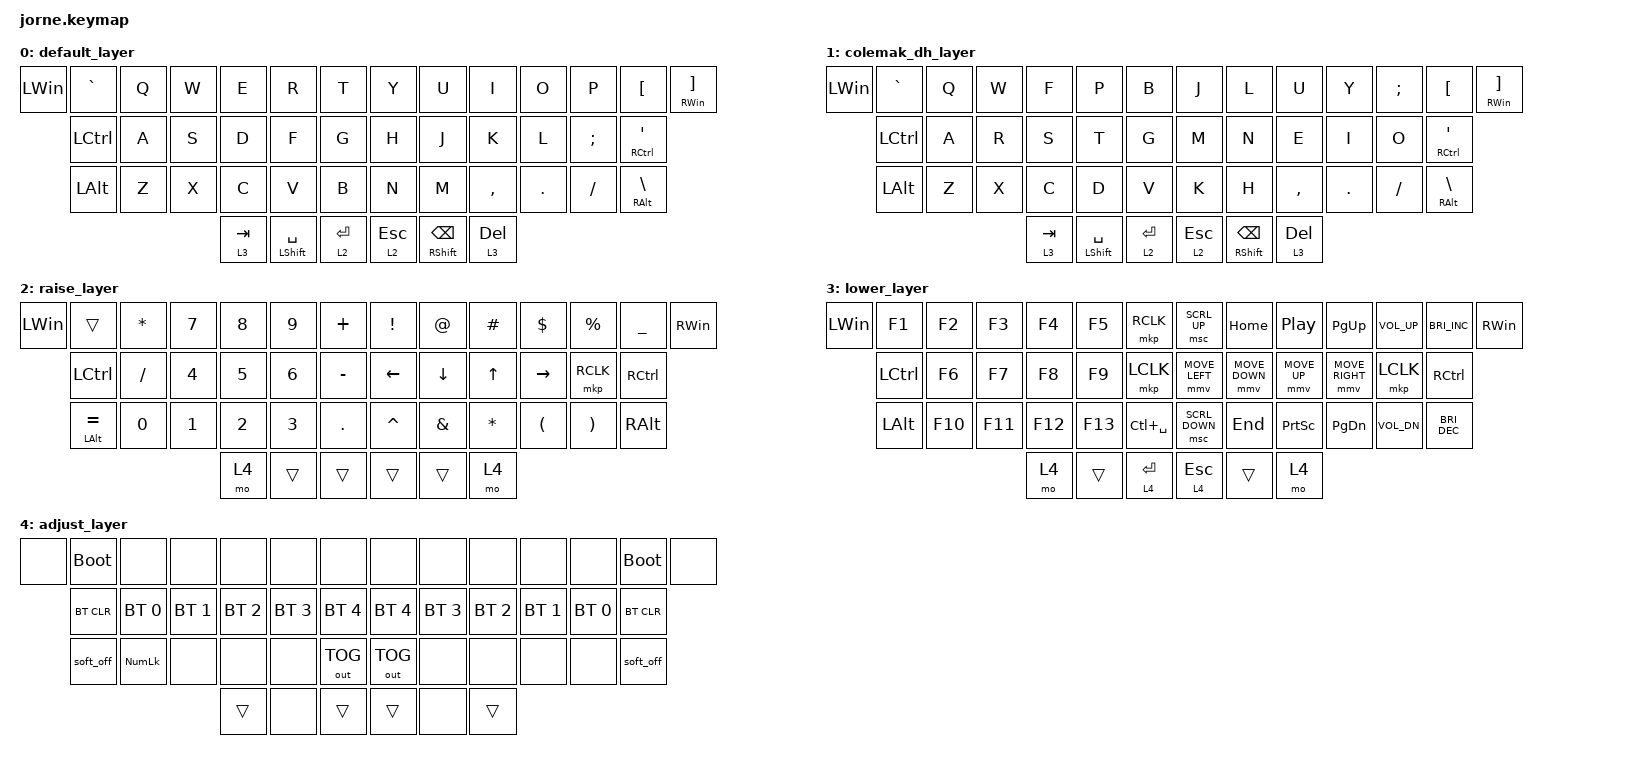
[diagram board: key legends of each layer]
/*
 * Copyright (c) 2020 The ZMK Contributors
 *
 * SPDX-License-Identifier: MIT
 */

#include <behaviors.dtsi>
#include <dt-bindings/zmk/bt.h>
#include <dt-bindings/zmk/keys.h>
#include <dt-bindings/zmk/outputs.h>
#include <dt-bindings/zmk/pointing.h>

#define DEF 0
#define CMK 1
#define LWR 2
#define RSE 3
#define ADJ 4

&lt { quick_tap_ms = <220>; };

&mt { quick_tap_ms = <220>; };

/ {
    combos {
        compatible = "zmk,combos";

        colemak_toggle {
            bindings = <&tog CMK>;
            key-positions = <0 1 14>;  // LWIN + GRAVE + LCTRL (all left side)
            timeout-ms = <50>;
            layers = <0 1>;
        };
    };

    macros {
        numdot: numdot {
            label = "ZM_numdot";
            compatible = "zmk,behavior-macro";
            #binding-cells = <0>;
            wait-ms = <40>;
            tap-ms = <40>;
            bindings =
                <&macro_press>,
                <&kp LALT>,
                <&macro_tap>,
                <&kp KP_N4 &kp KP_N6>,
                <&macro_release>,
                <&kp LALT>;
        };

        grtsgn: grtsgn {
            label = "ZM_grtsgn";
            compatible = "zmk,behavior-macro";
            #binding-cells = <0>;
            wait-ms = <40>;
            tap-ms = <40>;
            bindings =
                <&macro_press>,
                <&kp LALT>,
                <&macro_tap>,
                <&kp KP_N6 &kp KP_N2>,
                <&macro_release>,
                <&kp LALT>;
        };
    };
};

/ {
    keymap {
        compatible = "zmk,keymap";

        default_layer {
            bindings = <
&kp LWIN  &kp GRAVE  &kp Q  &kp W  &kp E      &kp R            &kp T        &kp Y      &kp U           &kp I      &kp O    &kp P     &kp LBKT       &mt RWIN RBKT
          &kp LCTRL  &kp A  &kp S  &kp D      &kp F            &kp G        &kp H      &kp J           &kp K      &kp L    &kp SEMI  &mt RCTRL SQT
          &kp LALT   &kp Z  &kp X  &kp C      &kp V            &kp B        &kp N      &kp M           &kp COMMA  &kp DOT  &kp FSLH  &mt RALT BSLH
                                   &lt 3 TAB  &mt LSHFT SPACE  &lt 2 RET    &lt 2 ESC  &mt RSHFT BSPC  &lt 3 DEL
            >;
        };

        colemak_dh_layer {
            // Colemak-DH layout for devices without custom layout support
            // Toggle with: LWIN + GRAVE + LCTRL (positions 0, 1, 14)

            bindings = <
&kp LWIN  &kp GRAVE  &kp Q  &kp W  &kp F      &kp P            &kp B        &kp J      &kp L           &kp U      &kp Y    &kp SEMI  &kp LBKT       &mt RWIN RBKT
          &kp LCTRL  &kp A  &kp R  &kp S      &kp T            &kp G        &kp M      &kp N           &kp E      &kp I    &kp O     &mt RCTRL SQT
          &kp LALT   &kp Z  &kp X  &kp C      &kp D            &kp V        &kp K      &kp H           &kp COMMA  &kp DOT  &kp FSLH  &mt RALT BSLH
                                   &lt 3 TAB  &mt LSHFT SPACE  &lt 2 RET    &lt 2 ESC  &mt RSHFT BSPC  &lt 3 DEL
            >;
        };

        raise_layer {
            bindings = <
&kp LWIN  &trans          &kp ASTERISK  &kp N7        &kp NUMBER_8  &kp NUMBER_9  &kp PLUS    &kp EXCLAMATION  &kp AT          &kp HASH      &kp DOLLAR            &kp PERCENT            &kp UNDERSCORE  &kp RWIN
          &kp LCTRL       &kp SLASH     &kp NUMBER_4  &kp NUMBER_5  &kp NUMBER_6  &kp MINUS     &kp LEFT_ARROW   &kp DOWN_ARROW  &kp UP_ARROW  &kp RIGHT_ARROW       &mkp RCLK              &kp RCTRL
          &mt LALT EQUAL  &kp NUMBER_0  &kp NUMBER_1  &kp NUMBER_2  &kp NUMBER_3  &kp DOT       &kp CARET        &kp AMPS        &kp ASTRK     &kp LEFT_PARENTHESIS  &kp RIGHT_PARENTHESIS  &kp RALT
                                                      &mo 4         &trans        &trans        &trans           &trans          &mo 4
            >;
        };

        lower_layer {
            bindings = <
&kp LWIN  &kp F1     &kp F2   &kp F3   &kp F4   &kp F5   &mkp RCLK        &msc SCRL_UP    &kp HOME        &kp C_PP         &kp PG_UP        &kp C_VOLUME_UP  &kp C_BRIGHTNESS_INC  &kp RWIN
          &kp LCTRL  &kp F6   &kp F7   &kp F8   &kp F9   &mkp LCLK        &mmv MOVE_LEFT  &mmv MOVE_DOWN  &mmv MOVE_UP     &mmv MOVE_RIGHT  &mkp LCLK        &kp RCTRL
          &kp LALT   &kp F10  &kp F11  &kp F12  &kp F13  &kp LC(SPACE)    &msc SCRL_DOWN  &kp END         &kp PRINTSCREEN  &kp PAGE_DOWN    &kp C_VOL_DN     &kp C_BRIGHTNESS_DEC
                                       &mo 4    &trans   &lt 4 RETURN     &lt 4 ESC       &trans          &mo 4
            >;
        };

        adjust_layer {
            bindings = <
&none  &bootloader  &none         &none         &none         &none         &none           &none         &none         &none         &none         &none         &bootloader  &none
       &bt BT_CLR   &bt BT_SEL 0  &bt BT_SEL 1  &bt BT_SEL 2  &bt BT_SEL 3  &bt BT_SEL 4    &bt BT_SEL 4  &bt BT_SEL 3  &bt BT_SEL 2  &bt BT_SEL 1  &bt BT_SEL 0  &bt BT_CLR
       &soft_off    &kp KP_NUM    &none         &none         &none         &out OUT_TOG    &out OUT_TOG  &none         &none         &none         &none         &soft_off
                                                &trans        &none         &trans          &trans        &none         &trans
            >;
        };
    };
};
